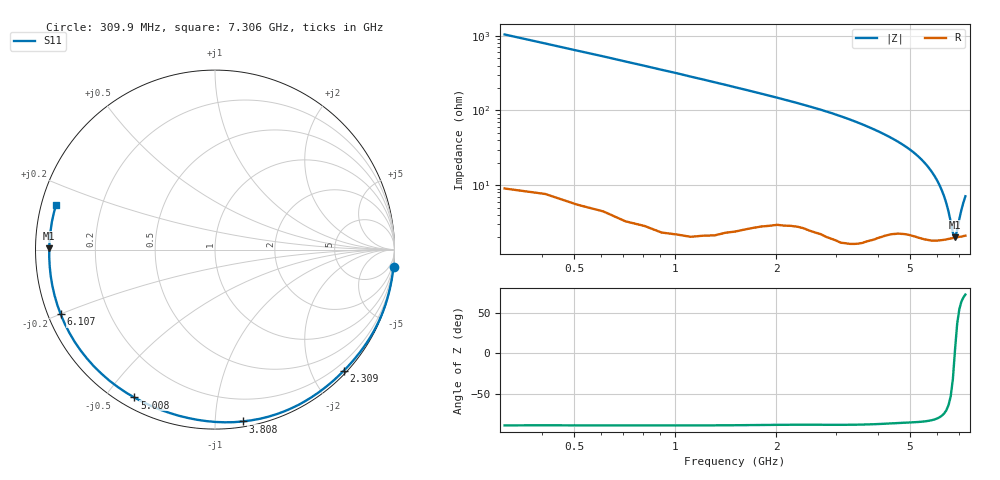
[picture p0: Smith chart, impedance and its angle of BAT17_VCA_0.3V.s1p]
! Infineon Technologies  Discrete & RF Semiconductors
! BAT17
! VCA = 0.3 V
! One-Port S-Parameters
# Hz  S  MA  R  50
!f  S11
!Hz  Mag  Ang
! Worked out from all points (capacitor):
!   71 points, 309.9 MHz to 7.306 GHz, reference 50 ohm
!   read as one part to ground: C = 491 fF near 309.9 MHz
!   lowest |Z| = 1.99 ohm at 6.807 GHz (marker M1)
!   series resonance near 6.794 GHz, so ESL is about 1.1 nH
!   S11 on the Smith chart (normalised r, x): 309.9 MHz: 0, -21; 2.309 GHz: 0.06, -2.51; 3.808 GHz: 0.04, -1.17; 5.008 GHz: 0.04, -0.59; 6.107 GHz: 0.04, -0.20; 7.306 GHz: 0.04, +0.14
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3.0985e8  0.9992 -5.5
8.096e8  0.9982 -14.4
1.2094e9  0.997 -21.8
1.6092e9  0.9935 -29.4
1.8091e9  0.9908 -33.3
2.10895e9  0.9871 -39.3
2.30885e9  0.9849 -43.4
2.70865e9  0.9832 -52.0
3.0085e9  0.9824 -59.2
3.2084e9  0.9813 -64.2
3.4083e9  0.9789 -69.6
3.6082e9  0.9752 -75.1
3.8081e9  0.9698 -80.9
4.008e9  0.9636 -86.8
4.2079e9  0.9567 -92.8
4.50775e9  0.9475 -102.2
4.70765e9  0.9428 -108.7
5.0075e9  0.9386 -118.6
5.30735e9  0.9377 -129.0
5.6072e9  0.9365 -139.6
5.70715e9  0.9361 -143.2
5.90705e9  0.9345 -150.3
6.10695e9  0.9322 -157.3
6.30685e9  0.9297 -164.1
6.50675e9  0.927 -170.8
6.8066e9  0.9235 179.6
7.10645e9  0.9219 170.4
7.30635e9  0.9205 164.5
